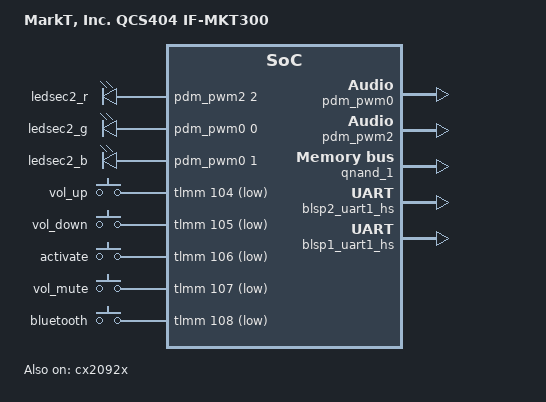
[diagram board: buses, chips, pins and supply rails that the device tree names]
/*
 * Copyright (c) 2019-2020, The Linux Foundation. All rights reserved.
 *
 * This program is free software; you can redistribute it and/or modify
 * it under the terms of the GNU General Public License version 2 and
 * only version 2 as published by the Free Software Foundation.
 *
 * This program is distributed in the hope that it will be useful,
 * but WITHOUT ANY WARRANTY; without even the implied warranty of
 * MERCHANTABILITY or FITNESS FOR A PARTICULAR PURPOSE.  See the
 * GNU General Public License for more details.
 */

/dts-v1/;

#include "qcs404.dtsi"
#include "qcs405-wsa-audio-overlay.dtsi"
#include "qcs405-circular-pca9956.dtsi"

/ {
	model = "MarkT, Inc. QCS404 IF-MKT300";
	compatible = "qcom,qcs404-iot", "qcom,qcs404", "qcom,iot";
	qcom,board-id = <0x010020 0x3>;
	markt,model-name = "BFR-9000";
	aliases {
        uart0 = &blsp1_uart4_hs;    // /dev/ttyHS0 : WCNS3980
        uart1 = &blsp2_uart1_hs;    // /dev/ttyHS1
        uart2 = &blsp1_uart1_hs;    // /dev/ttyHS2 : Body Friends MCU
    };
};


&pdm_pwm0 {
	status  = "okay";
	pinctrl-names = "pwm_led_act", "pwm_led_sus";
	pinctrl-0 = <&pwm_led1_active &pwm_led2_active>;
	pinctrl-1 = <&pwm_led1_sleep &pwm_led2_sleep>;
};

&pdm_pwm1 {
	status = "disabled";
};

&pdm_pwm2 {
	status  = "okay";
	pinctrl-names = "pwm_led_act", "pwm_led_sus";
	pinctrl-0 = <&pwm_led23_active>;
	pinctrl-1 = <&pwm_led23_sleep>;
};


&soc {
    pwm-leds {
		compatible = "pwm-leds";
		
        ledsec2_r: pwm_led@23 {            
			label = "ledsec2_r";
			max_brightness = <255>;
			pwms = <&pdm_pwm2 2 10000>;
			linux,default-trigger = "default-on";			
			markt,led-index = <4>;
		};

        ledsec2_g: pwm_led@1 {            
			label = "ledsec2_g";
			max_brightness = <255>;
			pwms = <&pdm_pwm0 0 10000>;
			linux,default-trigger = "default-on";			
			markt,led-index = <5>;
        };

        ledsec2_b: pwm_led@2 {
			label = "ledsec2_b";
			max_brightness = <255>;
			pwms = <&pdm_pwm0 1 10000>;
			linux,default-trigger = "default-on";			
			markt,led-index = <6>;
        };		
    };
};

&gpio_keys {

    vol_up {
        label = "vol_up";
        gpios = <&tlmm 104 GPIO_ACTIVE_LOW>;
        linux,input-type = <1>;
        linux,code = <KEY_VOLUMEUP>;
        debounce-interval = <15>;
        gpio-key,wakeup;
    };    

    vol_down {
        label = "vol_down";
        gpios = <&tlmm 105 GPIO_ACTIVE_LOW>;
        linux,input-type = <1>;
        linux,code = <KEY_VOLUMEDOWN>;
        debounce-interval = <15>;
        gpio-key,wakeup;
    };

    activate {
        label = "activate";
        gpios = <&tlmm 106 GPIO_ACTIVE_LOW>;
        linux,input-type = <1>;
        linux,code = <256>;
        debounce-interval = <15>;
        gpio-key,wakeup;
    };

    vol_mute {
        label = "vol_mute";
        gpios = <&tlmm 107 GPIO_ACTIVE_LOW>;
        linux,input-type = <1>;
        linux,code = <KEY_MUTE>;
        debounce-interval = <15>;
        gpio-key,wakeup;
    };

    bluetooth_key: bluetooth {
        label = "bluetooth";
        gpios = <&tlmm 108 GPIO_ACTIVE_LOW>;
        linux,input-type = <1>;
        linux,code = <257>;
        debounce-interval = <15>;
        gpio-key,wakeup;
    };

};


&ep92a6_hdmi_64 {
    status = "disabled";
};

&wcd9xxx_intc {
    status = "disabled";
};

&wcd9335 {
    status = "disabled";
};

&emac_hw {
    status = "disabled";
};

&qnand_1 {
	status = "ok";
};

&wsa881x_0211 {
    status = "disabled";
};

&wsa881x_0212 {
    status = "disabled";
};

&wsa881x_0214 {
    status = "disabled";
};

&cx2092x {
    status = "okay";
};

&lineout_booster_gpio {
    status = "disabled";
};

&lineout_booster_active {
    status = "disabled";
};

&lineout_booster_sleep {
    status = "disabled";
};

&dai_mi2s3 {
    qcom,msm-mi2s-rx-lines = <0>;
    qcom,msm-mi2s-tx-lines = <1>;
};

&qcs405_snd {

    markt,cx2092x-name = "cx2092x.6-0041";
    markt,cx2092x-busnum = <6>;
    markt,cx2092x-reg = <0x41>;

    //qcom,msm-mi2s-master = <1>, <0>, <1>, <0>, <1>, <1>;
    qcom,msm-mi2s-master = <1>, <0>, <1>, <1>, <1>, <1>;
    qcom,quat-mi2s-gpios = <&quat_mi2s_gpios>;
    qcom,lineout-booster-gpio = <0>;

    qcom,spdif-audio-intf = <0>;
    qcom,wcn-btfm = <1>;
    qcom,tasha-codec = <0>;	
	qcom,wsa-codec = <1>;
    qcom,wsa-max-devs = <1>;
    qcom,wsa-devs = <&wsa881x_0213>;
    qcom,wsa-aux-dev-prefix = "SpkrLeft";

    asoc-codec = <&stub_codec>, <&bolero>, <&cx2092x>;
    asoc-codec-names = "msm-stub-codec.1", "bolero_codec", "cx2092x.6-0041";
};

&tlmm {
	evb_tlmm_gpio_key{
		tlmm_gpio_key_active: tlmm_gpio_key_active {
			mux {
				pins = "gpio104", "gpio105", "gpio106", "gpio107", "gpio108";
			};

			config {
				pins = "gpio104", "gpio105", "gpio106", "gpio107", "gpio108";
                drive-strength = <2>;
                bias-pull-up;
			};
		};

		tlmm_gpio_key_suspend: tlmm_gpio_key_suspend {
			mux {
				pins = "gpio104", "gpio105", "gpio106", "gpio107", "gpio108";
			};

			config {
				pins = "gpio104", "gpio105", "gpio106", "gpio107", "gpio108";
                drive-strength = <2>;
                bias-disable;
			};
		};
	};
};

&wsa_macro {
    markt,ldo-gpios = <&tlmm 63 GPIO_ACTIVE_LOW>;
};


&cdsp_fw_mem {
	reg = <0x0 0x88600000 0x0 0x600000>;
};

&wlan_msa_mem {
	reg = <0x0 0x88C00000 0x0 0x100000>;
};


&blsp2_uart1_active {
    mux {
        pins = "gpio26", "gpio27";
        function = "blsp_uart5";
    };
    config {
        pins = "gpio26", "gpio27";
        drive-strength = <2>;
        bias-disable;
    };
};

&blsp2_uart1_sleep {
    mux {
        pins = "gpio26", "gpio27";
        function = "gpio";
    };
    config {
        pins = "gpio26", "gpio27";
        drive-strength = <2>;
        bias-disable;
    };
};

&blsp2_uart1_hs {
    status = "okay";
};


&blsp1_uart1_active {
    mux {
        pins = "gpio30", "gpio31";
        function = "blsp_uart0";
    };
    config {
        pins = "gpio30", "gpio31";
        drive-strength = <2>;
        bias-disable;
    };
};

&blsp1_uart1_sleep {
    mux {
        pins = "gpio30", "gpio31";
        function = "gpio";
    };
    config {
        pins = "gpio30", "gpio31";
        drive-strength = <2>;
        bias-disable;
    };
};

&blsp1_uart1_hs {
    status = "okay";
};
